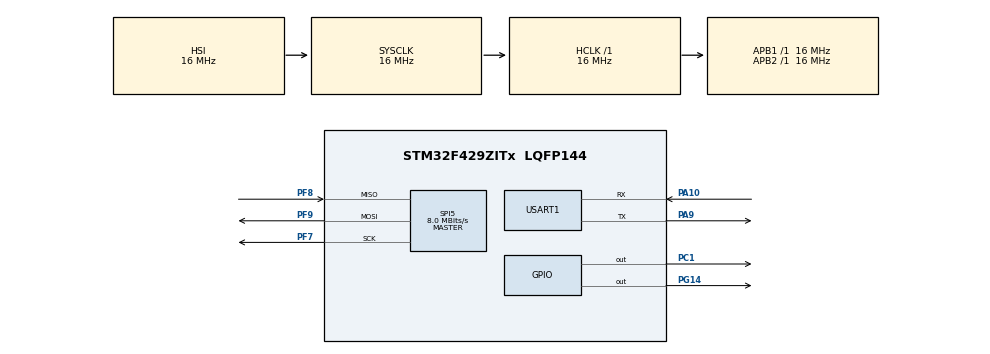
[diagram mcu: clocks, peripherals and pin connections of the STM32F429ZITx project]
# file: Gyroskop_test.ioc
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Mcu.Family=STM32F4
Mcu.Name=STM32F429ZITx
Mcu.Package=LQFP144
NVIC.PriorityGroup=NVIC_PRIORITYGROUP_4
PA10.Mode=Asynchronous
PA10.Signal=USART1_RX
PA9.Mode=Asynchronous
PA9.Signal=USART1_TX
PC1.Signal=GPIO_Output
PF7.Mode=Full_Duplex_Master
PF7.Signal=SPI5_SCK
PF8.Mode=Full_Duplex_Master
PF8.Signal=SPI5_MISO
PF9.Mode=Full_Duplex_Master
PF9.Signal=SPI5_MOSI
PG14.Signal=GPIO_Output
ProjectManager.HeapSize=0x200
ProjectManager.StackSize=0x400
ProjectManager.TargetToolchain=STM32CubeIDE
RCC.AHBFreq_Value=16000000
RCC.APB1Freq_Value=16000000
RCC.APB2Freq_Value=16000000
RCC.CortexFreq_Value=16000000
RCC.HSE_VALUE=25000000
RCC.HSI_VALUE=16000000
RCC.LSE_VALUE=32768
RCC.SYSCLKFreq_VALUE=16000000
RCC.VCOOutputFreq_Value=192000000
SPI5.CalculateBaudRate=8.0 MBits/s
SPI5.Direction=SPI_DIRECTION_2LINES
SPI5.Mode=SPI_MODE_MASTER
SPI5.VirtualType=VM_MASTER
USART1.VirtualMode=VM_ASYNC
board=custom

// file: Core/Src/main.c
/* USER CODE BEGIN Header */
/**
  ******************************************************************************
  * @file           : main.c
  * @brief          : Main program body
  ******************************************************************************
  * @attention
  *
  * Copyright (c) 2026 STMicroelectronics.
  * All rights reserved.
  *
  * This software is licensed under terms that can be found in the LICENSE file
  * in the root directory of this software component.
  * If no LICENSE file comes with this software, it is provided AS-IS.
  *
  ******************************************************************************
  */
/* USER CODE END Header */
#include "main.h"

/* USER CODE BEGIN Includes */
#include "string.h"
#include "stdio.h"
#include <stdbool.h>

#include "gyro.h"

/* USER CODE END Includes */

SPI_HandleTypeDef hspi5;

UART_HandleTypeDef huart1;

/* USER CODE BEGIN PV */
#define RED_LED_Pin		  GPIO_PIN_14
#define RED_LED_GPIO_Port GPIOG
GyroConvertedData_t converted_gyro_data;

/* USER CODE END PV */

void SystemClock_Config(void);
static void MX_GPIO_Init(void);
static void MX_SPI5_Init(void);
static void MX_USART1_UART_Init(void);

int main(void)
{

  /* MCU Configuration--------------------------------------------------------*/

  /* Reset of all peripherals, Initializes the Flash interface and the Systick. */
  HAL_Init();

  /* Configure the system clock */
  SystemClock_Config();

  /* Initialize all configured peripherals */
  MX_GPIO_Init();
  MX_SPI5_Init();
  MX_USART1_UART_Init();
  /* USER CODE BEGIN 2 */

  bool initialized = false;
  HAL_UART_Transmit(&huart1, (uint8_t *)"Initialization have been started\r\n", sizeof("Initialization have been started\r\n") - 1, 100);
  while(!initialized)
  {
	  if (Gyro_Init() == GYRO_OK)
	  {
		  HAL_UART_Transmit(&huart1, (uint8_t *)"GYRO is OK\r\n", sizeof("GYRO is OK\r\n") - 1, 100);
		  HAL_GPIO_WritePin(RED_LED_GPIO_Port, RED_LED_Pin, GPIO_PIN_SET);
		  initialized = true;
	  }
	  else
	  {
	  	  HAL_UART_Transmit(&huart1, (uint8_t *)"Initialization failed\r\n", sizeof("Initialization failed\r\n") - 1, 100);
	  }
  }

  /* USER CODE END 2 */

  /* Infinite loop */
  /* USER CODE BEGIN WHILE */
  char txBuf[64];

  while (1)
  {
	    if (Gyro_ReadConverted(&converted_gyro_data) != GYRO_OK)
	    {
	        strcpy(txBuf, "Reading raw data failed\r\n");
	    }
	    else
	    {
	        snprintf(txBuf,
	                 sizeof(txBuf),
	                 "X:%f  Y:%f  Z:%f\r\n",
					 converted_gyro_data.x,
					 converted_gyro_data.y,
					 converted_gyro_data.z);
	    }

	    HAL_UART_Transmit(&huart1,
	                      (uint8_t *)txBuf,
	                      strlen(txBuf),
	                      100);

	    HAL_Delay(100);

    /* USER CODE END WHILE */

  }
}

void SystemClock_Config(void)
{
  RCC_OscInitTypeDef RCC_OscInitStruct = {0};
  RCC_ClkInitTypeDef RCC_ClkInitStruct = {0};

  /** Configure the main internal regulator output voltage
  */
  __HAL_RCC_PWR_CLK_ENABLE();
  __HAL_PWR_VOLTAGESCALING_CONFIG(PWR_REGULATOR_VOLTAGE_SCALE3);

  /** Initializes the RCC Oscillators according to the specified parameters
  * in the RCC_OscInitTypeDef structure.
  */
  RCC_OscInitStruct.OscillatorType = RCC_OSCILLATORTYPE_HSI;
  RCC_OscInitStruct.HSIState = RCC_HSI_ON;
  RCC_OscInitStruct.HSICalibrationValue = RCC_HSICALIBRATION_DEFAULT;
  RCC_OscInitStruct.PLL.PLLState = RCC_PLL_NONE;
  if (HAL_RCC_OscConfig(&RCC_OscInitStruct) != HAL_OK)
  {
    Error_Handler();
  }

  /** Initializes the CPU, AHB and APB buses clocks
  */
  RCC_ClkInitStruct.ClockType = RCC_CLOCKTYPE_HCLK|RCC_CLOCKTYPE_SYSCLK
                              |RCC_CLOCKTYPE_PCLK1|RCC_CLOCKTYPE_PCLK2;
  RCC_ClkInitStruct.SYSCLKSource = RCC_SYSCLKSOURCE_HSI;
  RCC_ClkInitStruct.AHBCLKDivider = RCC_SYSCLK_DIV1;
  RCC_ClkInitStruct.APB1CLKDivider = RCC_HCLK_DIV1;
  RCC_ClkInitStruct.APB2CLKDivider = RCC_HCLK_DIV1;

  if (HAL_RCC_ClockConfig(&RCC_ClkInitStruct, FLASH_LATENCY_0) != HAL_OK)
  {
    Error_Handler();
  }
}

static void MX_SPI5_Init(void)
{

  /* SPI5 parameter configuration*/
  hspi5.Instance = SPI5;
  hspi5.Init.Mode = SPI_MODE_MASTER;
  hspi5.Init.Direction = SPI_DIRECTION_2LINES;
  hspi5.Init.DataSize = SPI_DATASIZE_8BIT;
  hspi5.Init.CLKPolarity = SPI_POLARITY_LOW;
  hspi5.Init.CLKPhase = SPI_PHASE_1EDGE;
  hspi5.Init.NSS = SPI_NSS_SOFT;
  hspi5.Init.BaudRatePrescaler = SPI_BAUDRATEPRESCALER_2;
  hspi5.Init.FirstBit = SPI_FIRSTBIT_MSB;
  hspi5.Init.TIMode = SPI_TIMODE_DISABLE;
  hspi5.Init.CRCCalculation = SPI_CRCCALCULATION_DISABLE;
  hspi5.Init.CRCPolynomial = 10;
  if (HAL_SPI_Init(&hspi5) != HAL_OK)
  {
    Error_Handler();
  }

}

static void MX_USART1_UART_Init(void)
{

  huart1.Instance = USART1;
  huart1.Init.BaudRate = 115200;
  huart1.Init.WordLength = UART_WORDLENGTH_8B;
  huart1.Init.StopBits = UART_STOPBITS_1;
  huart1.Init.Parity = UART_PARITY_NONE;
  huart1.Init.Mode = UART_MODE_TX_RX;
  huart1.Init.HwFlowCtl = UART_HWCONTROL_NONE;
  huart1.Init.OverSampling = UART_OVERSAMPLING_16;
  if (HAL_UART_Init(&huart1) != HAL_OK)
  {
    Error_Handler();
  }

}

static void MX_GPIO_Init(void)
{
  GPIO_InitTypeDef GPIO_InitStruct = {0};

  /* GPIO Ports Clock Enable */
  __HAL_RCC_GPIOF_CLK_ENABLE();
  __HAL_RCC_GPIOC_CLK_ENABLE();
  __HAL_RCC_GPIOA_CLK_ENABLE();
  __HAL_RCC_GPIOG_CLK_ENABLE();

  /*Configure GPIO pin Output Level */
  HAL_GPIO_WritePin(GPIOC, GPIO_PIN_1, GPIO_PIN_RESET);

  /*Configure GPIO pin Output Level */
  HAL_GPIO_WritePin(GPIOG, GPIO_PIN_14, GPIO_PIN_RESET);

  /*Configure GPIO pin : PC1 */
  GPIO_InitStruct.Pin = GPIO_PIN_1;
  GPIO_InitStruct.Mode = GPIO_MODE_OUTPUT_PP;
  GPIO_InitStruct.Pull = GPIO_NOPULL;
  GPIO_InitStruct.Speed = GPIO_SPEED_FREQ_LOW;
  HAL_GPIO_Init(GPIOC, &GPIO_InitStruct);

  /*Configure GPIO pin : PG14 */
  GPIO_InitStruct.Pin = GPIO_PIN_14;
  GPIO_InitStruct.Mode = GPIO_MODE_OUTPUT_PP;
  GPIO_InitStruct.Pull = GPIO_NOPULL;
  GPIO_InitStruct.Speed = GPIO_SPEED_FREQ_LOW;
  HAL_GPIO_Init(GPIOG, &GPIO_InitStruct);

}

void Error_Handler(void)
{
  __disable_irq();
  while (1)
  {
  }
}
